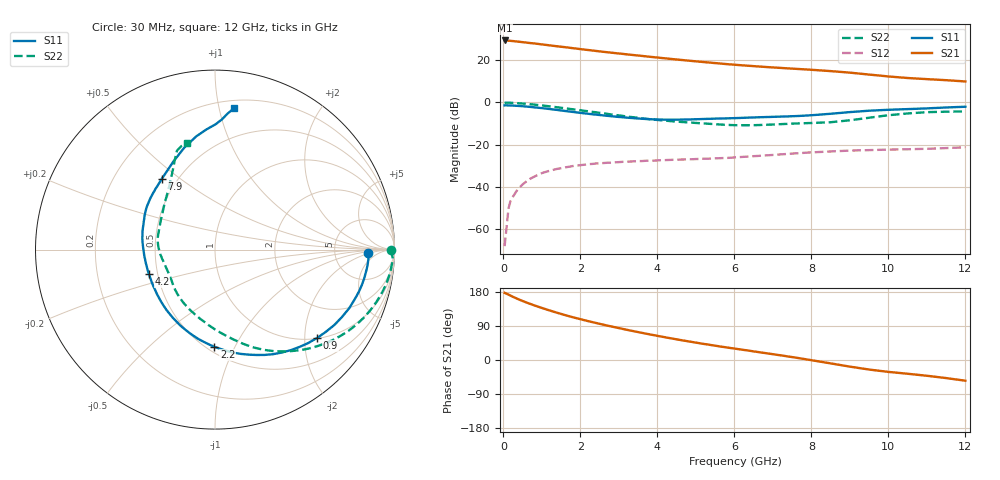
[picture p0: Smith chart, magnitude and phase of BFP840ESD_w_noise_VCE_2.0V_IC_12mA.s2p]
! Infineon Technologies  Discrete & RF Semiconductors
! BFP840ESD
! VCE =  2.0 V,  IC =  12 mA
! Common Emitter S-Parameters:  May 2012
# GHz  S  MA  R  50
!  f  S11  S21  S12  S22
! GHz  MAG  ANG  MAG  ANG  MAG  ANG  MAG  ANG
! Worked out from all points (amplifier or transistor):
!   93 points, 30 MHz to 12 GHz, reference 50 ohm
!   highest |S21| = 29.3 dB at 30 MHz (marker M1)
!   |S21| within 3 dB of that: start of sweep to 1.51 GHz
!   unconditionally stable (mu >= 1): 5.365 GHz to 8.873 GHz
!   at 1.1 GHz: K = 0.31, MSG = 30.0 dB, |S12| = -32.8 dB
!   at 4.2 GHz: K = 0.85, MSG = 24.1 dB, |S12| = -27.3 dB
!   at 12 GHz: K = 0.72, MSG = 15.6 dB, |S12| = -21.2 dB
!   lowest NFmin = 0.89 dB at 450 MHz
!   S11 on the Smith chart (normalised r, x): 30 MHz: 13, -2; 900 MHz: 1.01, -2.30; 2.2 GHz: 0.54, -0.83; 4.2 GHz: 0.45, -0.14; 7.9 GHz: 0.41, +0.43; 12 GHz: 0.26, +1.11
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0.03  0.8551 -1.3  29.33 177.2  0.0004 56.1  0.9797 -0.1
0.13  0.8539 -6.3  28.99 172.6  0.0031 77.2  0.9893 -4.6
0.28  0.8417 -13.5  28.18 165.2  0.0066 78.3  0.9754 -10.5
0.43  0.8241 -20.3  27.18 158.5  0.01 73.9  0.9553 -15.8
0.6  0.8009 -28.0  26.07 151.6  0.0137 71.1  0.9273 -21.7
0.9  0.7523 -40.9  24.28 140.7  0.0195 63.2  0.8713 -31.2
1.2  0.701 -53.1  22.45 130.7  0.0243 56.9  0.8107 -39.8
1.5  0.6486 -64.8  20.81 121.5  0.028 51.0  0.7495 -47.8
2.1  0.5545 -86.8  17.87 105.1  0.0337 42.1  0.6368 -62.0
2.2  0.5419 -90.3  17.43 102.6  0.0348 40.6  0.6199 -64.2
2.6  0.4944 -104.2  15.8 93.1  0.037 36.6  0.5535 -72.6
3.1  0.4468 -121.6  14.11 82.0  0.0395 32.7  0.4815 -83.1
3.6  0.4124 -138.9  12.62 71.6  0.0412 29.3  0.4233 -94.6
4.1  0.3936 -156.3  11.31 61.8  0.0432 26.9  0.3789 -106.9
4.2  0.3927 -159.6  11.07 60.0  0.0434 26.6  0.3716 -109.3
5.1  0.4043 175.2  9.221 44.2  0.0463 23.9  0.324 -130.3
6.1  0.4297 156.7  7.697 28.7  0.0509 22.9  0.2903 -152.2
7.9  0.4938 126.9  6.018 1.2  0.0654 15.6  0.3255 168.4
8.5  0.5412 115.6  5.528 -8.9  0.0695 11.5  0.3416 152.6
9.5  0.6395 99.4  4.576 -25.2  0.0748 3.9  0.4363 125.6
10.5  0.6976 89.8  3.794 -36.3  0.0784 -2.2  0.5508 113.9
12  0.7935 82.3  3.144 -54.7  0.0874 -9.2  0.6157 104.5
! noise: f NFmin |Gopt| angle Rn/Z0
0.45  0.89  0.22  1  0.14
0.9  0.89  0.22  4  0.14
1.5  0.9  0.22  9  0.13
1.9  0.91  0.2  13  0.12
2.4  0.91  0.17  23  0.12
3.5  0.93  0.1  61  0.1
5.5  0.99  0.07  168  0.1
8  1.11  0.3  -121  0.11
10  1.24  0.48  -85  0.2
12  1.46  0.61  -69  0.29
